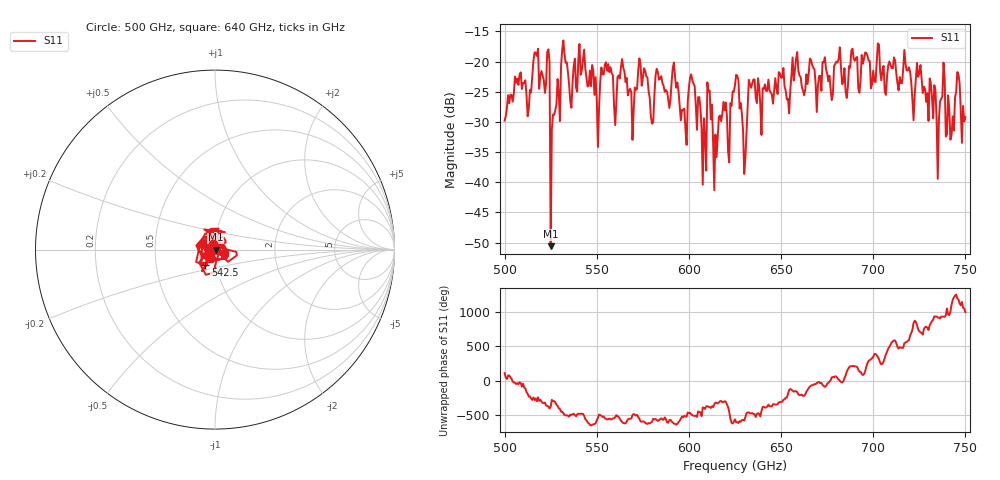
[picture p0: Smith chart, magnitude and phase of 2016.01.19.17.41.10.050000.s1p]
!Created with skrf (http://scikit-rf.org).
# GHz S RI R 50.0
!freq ReS11 ImS11
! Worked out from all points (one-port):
!   401 points, 500 GHz to 750 GHz, reference 50 ohm
!   lowest |S11| = -50.6 dB at 525 GHz (marker M1), VSWR 1.01, Z = 50.3 - j0.0946 ohm
!   |S11| at or under -10 dB: start of sweep to end of sweep
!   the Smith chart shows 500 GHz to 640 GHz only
!   S11 on the Smith chart (normalised r, x): 500 GHz: 0.98, +0.06; 542.5 GHz: 0.89, -0.16; 640 GHz: 1.12, -0.05
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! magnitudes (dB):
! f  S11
! 500 GHz  -29.8
! 513.1 GHz  -27.8
! 516.9 GHz  -18.5
! 523.1 GHz  -18.4
! 525 GHz  -50.6
! 526.2 GHz  -28.8
! 531.2 GHz  -18.0
! 542.5 GHz  -19.8
! 550 GHz  -26.3
! 562.5 GHz  -22.8
! 580 GHz  -30.3
! 583.1 GHz  -21.7
! 593.8 GHz  -23.5
! 597.5 GHz  -27.8
! 601.9 GHz  -23.1
! 608.1 GHz  -29.4
! 611.2 GHz  -24.8
! 614.4 GHz  -32.1
! 625 GHz  -23.9
! 630 GHz  -38.6
! 633.8 GHz  -24.4
! 640 GHz  -24.4
! 656.2 GHz  -19.3
! 687.5 GHz  -21.0
! 718.8 GHz  -21.5
! 735.6 GHz  -29.7
! 737.5 GHz  -25.8
! 750 GHz  -29.2
